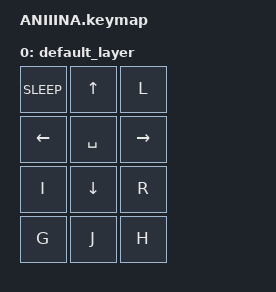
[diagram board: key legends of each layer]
#include <behaviors.dtsi>
#include <dt-bindings/zmk/keys.h>
#include <dt-bindings/zmk/bt.h>

/ {
    keymap {
        compatible = "zmk,keymap";

        default_layer {
            bindings = <
                &kp K_SLEEP     &kp UP      &kp L
                &kp LEFT        &kp SPACE   &kp RIGHT
                &kp I           &kp DOWN    &kp R
                &kp G           &kp J       &kp H
            >;
        };
    };
};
